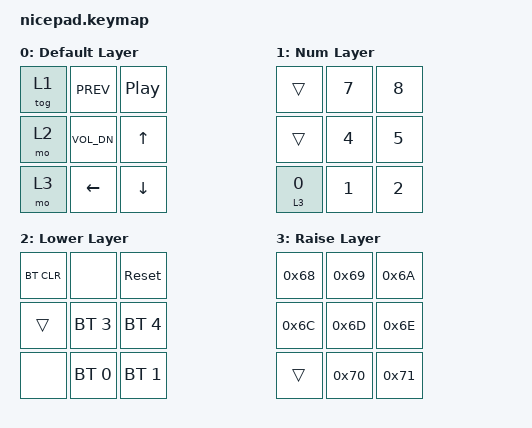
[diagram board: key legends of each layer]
/*
 * Copyright (c) 2020 The ZMK Contributors
 *
 * SPDX-License-Identifier: MIT
 */

#include <behaviors.dtsi>
#include <dt-bindings/zmk/bt.h>
#include <dt-bindings/zmk/keys.h>
#include <dt-bindings/zmk/rgb.h>
#include <dt-bindings/zmk/ext_power.h>

/ {
    keymap {
        compatible = "zmk,keymap";

        default_layer {
            display-name = "Default Layer";

            bindings = <
    &tog 1 &kp C_PREV   &kp C_PP
    &mo 2  &kp C_VOL_DN &kp UP
    &mo 3  &kp LEFT     &kp DOWN
            >;

        };

        num_layer {
            display-name = "Num Layer";
            bindings = <
    &trans   &kp N7 &kp N8
    &trans   &kp N4 &kp N5
    &lt 3 N0 &kp N1 &kp N2
            >;
        };

        lower_layer {
            display-name = "Lower Layer";
            bindings = <
    &bt BT_CLR &none        &sys_reset
    &trans     &bt BT_SEL 3 &bt BT_SEL 4
    &none      &bt BT_SEL 0 &bt BT_SEL 1
            >;
        };

        raise_layer {
            display-name = "Raise Layer";
            bindings = <
    &kp 0x68 &kp 0x69 &kp 0x6A
    &kp 0x6C &kp 0x6D &kp 0x6E
    &trans   &kp 0x70 &kp 0x71
            >;
        };
        extra1 {
            status = "reserved";
        };
        extra2 {
            status = "reserved";
        };
        extra3 {
            status = "reserved";
        };
        extra4 {
            status = "reserved";
        };
    };
};
